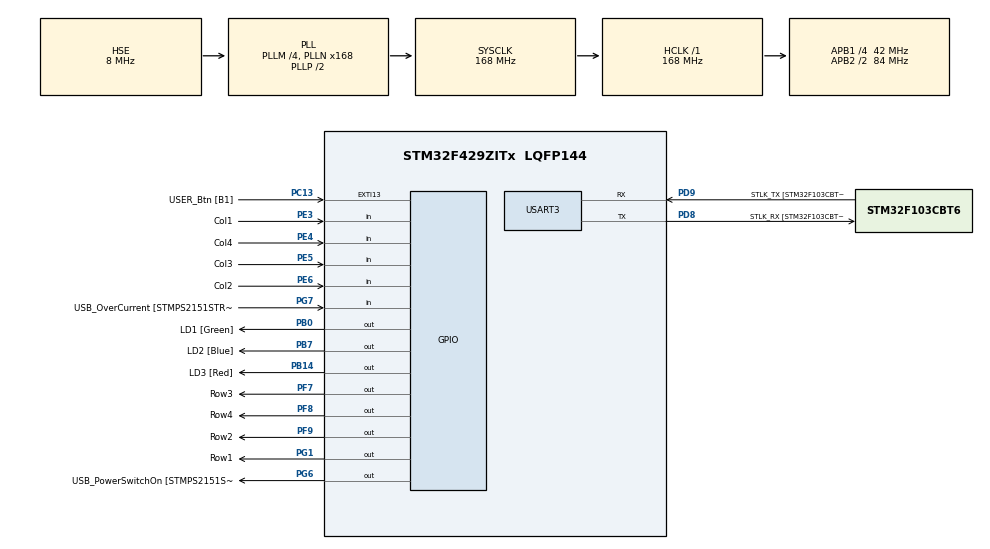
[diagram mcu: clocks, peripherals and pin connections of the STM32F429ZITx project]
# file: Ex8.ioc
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Mcu.Family=STM32F4
Mcu.Name=STM32F429ZITx
Mcu.Package=LQFP144
NVIC.PriorityGroup=NVIC_PRIORITYGROUP_4
NVIC.TIM3_IRQn=true\:0\:0\:false\:false\:true\:true\:true\:true
PA1.GPIO_Label=RMII_REF_CLK [LAN8742A-CZ-TR_REFCLK0]
PA1.Signal=ETH_REF_CLK
PA10.GPIO_Label=USB_ID
PA10.Signal=USB_OTG_FS_ID
PA11.GPIO_Label=USB_DM
PA11.Signal=USB_OTG_FS_DM
PA12.GPIO_Label=USB_DP
PA12.Signal=USB_OTG_FS_DP
PA13.GPIO_Label=TMS
PA13.Mode=Serial_Wire
PA13.Signal=SYS_JTMS-SWDIO
PA14.GPIO_Label=TCK
PA14.Mode=Serial_Wire
PA14.Signal=SYS_JTCK-SWCLK
PA2.GPIO_Label=RMII_MDIO [LAN8742A-CZ-TR_MDIO]
PA2.Signal=ETH_MDIO
PA7.GPIO_Label=RMII_CRS_DV [LAN8742A-CZ-TR_CRS_DV]
PA7.Signal=ETH_CRS_DV
PA8.GPIO_Label=USB_SOF [TP1]
PA8.Signal=USB_OTG_FS_SOF
PA9.GPIO_Label=USB_VBUS
PA9.Signal=USB_OTG_FS_VBUS
PB0.GPIO_Label=LD1 [Green]
PB0.Signal=GPIO_Output
PB13.GPIO_Label=RMII_TXD1 [LAN8742A-CZ-TR_TXD1]
PB13.Signal=ETH_TXD1
PB14.GPIO_Label=LD3 [Red]
PB14.Signal=GPIO_Output
PB7.GPIO_Label=LD2 [Blue]
PB7.Signal=GPIO_Output
PC1.GPIO_Label=RMII_MDC [LAN8742A-CZ-TR_MDC]
PC1.Signal=ETH_MDC
PC13.GPIO_Label=USER_Btn [B1]
PC13.Signal=GPXTI13
PC14/OSC32_IN.Mode=LSE-External-Oscillator
PC14/OSC32_IN.Signal=RCC_OSC32_IN
PC15/OSC32_OUT.Mode=LSE-External-Oscillator
PC15/OSC32_OUT.Signal=RCC_OSC32_OUT
PC4.GPIO_Label=RMII_RXD0 [LAN8742A-CZ-TR_RXD0]
PC4.Signal=ETH_RXD0
PC5.GPIO_Label=RMII_RXD1 [LAN8742A-CZ-TR_RXD1]
PC5.Signal=ETH_RXD1
PD8.GPIO_Label=STLK_RX [STM32F103CBT6_PA3]
PD8.Mode=Asynchronous
PD8.Signal=USART3_TX
PD9.GPIO_Label=STLK_TX [STM32F103CBT6_PA2]
PD9.Mode=Asynchronous
PD9.Signal=USART3_RX
PE3.GPIO_Label=Col1
PE3.GPIO_PuPd=GPIO_PULLUP
PE3.Signal=GPIO_Input
PE4.GPIO_Label=Col4
PE4.GPIO_PuPd=GPIO_PULLUP
PE4.Signal=GPIO_Input
PE5.GPIO_Label=Col3
PE5.GPIO_PuPd=GPIO_PULLUP
PE5.Signal=GPIO_Input
PE6.GPIO_Label=Col2
PE6.GPIO_PuPd=GPIO_PULLUP
PE6.Signal=GPIO_Input
PF7.GPIO_Label=Row3
PF7.GPIO_ModeDefaultOutputPP=GPIO_MODE_OUTPUT_OD
PF7.GPIO_PuPd=GPIO_NOPULL
PF7.Signal=GPIO_Output
PF8.GPIO_Label=Row4
PF8.GPIO_ModeDefaultOutputPP=GPIO_MODE_OUTPUT_OD
PF8.GPIO_PuPd=GPIO_NOPULL
PF8.Signal=GPIO_Output
PF9.GPIO_Label=Row2
PF9.GPIO_ModeDefaultOutputPP=GPIO_MODE_OUTPUT_OD
PF9.GPIO_PuPd=GPIO_NOPULL
PF9.Signal=GPIO_Output
PG1.GPIO_Label=Row1
PG1.GPIO_ModeDefaultOutputPP=GPIO_MODE_OUTPUT_OD
PG1.GPIO_PuPd=GPIO_NOPULL
PG1.Signal=GPIO_Output
PG11.GPIO_Label=RMII_TX_EN [LAN8742A-CZ-TR_TXEN]
PG11.Signal=ETH_TX_EN
PG13.GPIO_Label=RMII_TXD0 [LAN8742A-CZ-TR_TXD0]
PG13.Signal=ETH_TXD0
PG6.GPIO_Label=USB_PowerSwitchOn [STMPS2151STR_EN]
PG6.Signal=GPIO_Output
PG7.GPIO_Label=USB_OverCurrent [STMPS2151STR_FAULT]
PG7.Signal=GPIO_Input
PH0/OSC_IN.GPIO_Label=MCO [STM32F103CBT6_PA8]
PH0/OSC_IN.Mode=HSE-External-Clock-Source
PH0/OSC_IN.Signal=RCC_OSC_IN
PH1/OSC_OUT.Mode=HSE-External-Clock-Source
PH1/OSC_OUT.Signal=RCC_OSC_OUT
ProjectManager.HeapSize=0x200
ProjectManager.StackSize=0x400
ProjectManager.TargetToolchain=STM32CubeIDE
RCC.48MHZClocksFreq_Value=48000000
RCC.AHBFreq_Value=168000000
RCC.APB1CLKDivider=RCC_HCLK_DIV4
RCC.APB1Freq_Value=42000000
RCC.APB1TimFreq_Value=84000000
RCC.APB2CLKDivider=RCC_HCLK_DIV2
RCC.APB2Freq_Value=84000000
RCC.APB2TimCLKDivider=2
RCC.APB2TimFreq_Value=168000000
RCC.CortexFreq_Value=168000000
RCC.HCLKFreq_Value=168000000
RCC.HSE_VALUE=8000000
RCC.HSI_VALUE=16000000
RCC.PLLM=4
RCC.PLLMUL=RCC_PLL_MUL9
RCC.PLLN=168
RCC.PLLQ=7
RCC.PLLSourceVirtual=RCC_PLLSOURCE_HSE
RCC.PRESCALERUSB=RCC_USBCLKSOURCE_PLL_DIV1_5
RCC.SYSCLKFreq_VALUE=168000000
RCC.SYSCLKSource=RCC_SYSCLKSOURCE_PLLCLK
RCC.SYSCLKSourceVirtual=RCC_SYSCLKSOURCE_PLLCLK
RCC.USBFreq_Value=48000000
RCC.VCOOutputFreq_Value=336000000
TIM3.AutoReloadPreload=TIM_AUTORELOAD_PRELOAD_DISABLE
TIM3.Period=99
TIM3.Prescaler=8399
USART3.VirtualMode=VM_ASYNC
VP_TIM3_VS_ClockSourceINT.Mode=Internal
board=NUCLEO-F429ZI

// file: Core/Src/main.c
/* USER CODE BEGIN Header */
/**
 ******************************************************************************
 * @file           : main.c
 * @brief          : Main program body
 ******************************************************************************
 * @attention
 *
 * Copyright (c) 2023 STMicroelectronics.
 * All rights reserved.
 *
 * This software is licensed under terms that can be found in the LICENSE file
 * in the root directory of this software component.
 * If no LICENSE file comes with this software, it is provided AS-IS.
 *
 ******************************************************************************
 */
/* USER CODE END Header */
#include "main.h"

/* USER CODE BEGIN Includes */
#include <stdio.h>
/* USER CODE END Includes */

/* USER CODE BEGIN PD */
#define LOCK_TIMEOUT 3000
/* USER CODE END PD */

TIM_HandleTypeDef htim3;

UART_HandleTypeDef huart3;

/* USER CODE BEGIN PV */
static volatile int8_t key = -1;
/* USER CODE END PV */

void SystemClock_Config(void);
static void MX_GPIO_Init(void);
static void MX_USART3_UART_Init(void);
static void MX_TIM3_Init(void);

/* USER CODE BEGIN 0 */
int __io_putchar(int ch)
{
	ITM_SendChar(ch);
	return 0;
}

int pass_cmp(uint8_t *i) {
	uint8_t pass[5] = {7, 9, 3, 2, 12};

	if (key == pass[*i]) {
		if (key == 12 && *i == 4) {
			*i = 0;
			return 1;
		}
		(*i)++;
	}
	else {
		if (key == 12) {
			printf("Password incorrect\n");
		}
		*i = 0;
	}
	return 0;
}
/* USER CODE END 0 */

int main(void)
{

	/* MCU Configuration--------------------------------------------------------*/

	/* Reset of all peripherals, Initializes the Flash interface and the Systick. */
	HAL_Init();

	/* Configure the system clock */
	SystemClock_Config();

	/* Initialize all configured peripherals */
	MX_GPIO_Init();
	MX_USART3_UART_Init();
	MX_TIM3_Init();
	/* USER CODE BEGIN 2 */
	HAL_TIM_Base_Start_IT(&htim3);

	/* USER CODE END 2 */

	/* Infinite loop */
	/* USER CODE BEGIN WHILE */
	uint8_t i = 0, passStatus = 0;
	while (1)
	{
		//		HAL_GPIO_TogglePin(LD1_GPIO_Port, LD1_Pin);
		//		HAL_Delay(250);
		//		printf("Tick\n");

		static uint32_t tick;
		static uint32_t timeSample;
		static uint8_t lockTimeout = 1;

		tick = HAL_GetTick();

		if (tick > (timeSample + 1000) && (key != -1)) {
			timeSample = tick;
			lockTimeout = 0;

			switch (key) {
			case 11:
				printf("Pressed: [*]\n");
				break;
			case 12:
				printf("Pressed: [#]\n");
				break;
			case 21:
				printf("Pressed: [A]\n");
				break;
			case 22:
				printf("Pressed: [B]\n");
				break;
			case 23:
				printf("Pressed: [C]\n");
				break;
			case 24:
				printf("Pressed: [D]\n");
				break;
			default:
				printf("Pressed: %d\n", key);
				break;
			}

			HAL_GPIO_WritePin(LD2_GPIO_Port, LD2_Pin, GPIO_PIN_RESET);
			passStatus = pass_cmp(&i);
			if (passStatus == 1) {
				HAL_GPIO_WritePin(LD2_GPIO_Port, LD2_Pin, GPIO_PIN_SET);
				printf("Password correct\n");
				passStatus = 0;
			}

			key = -1;
		}

		if (tick > timeSample + LOCK_TIMEOUT && lockTimeout == 0) {
			lockTimeout = 1;
			printf("Lock timeout\n");
			i = 0;
		}
		/* USER CODE END WHILE */

	}
}

void SystemClock_Config(void)
{
	RCC_OscInitTypeDef RCC_OscInitStruct = {0};
	RCC_ClkInitTypeDef RCC_ClkInitStruct = {0};

	/** Configure the main internal regulator output voltage
	 */
	__HAL_RCC_PWR_CLK_ENABLE();
	__HAL_PWR_VOLTAGESCALING_CONFIG(PWR_REGULATOR_VOLTAGE_SCALE1);

	/** Initializes the RCC Oscillators according to the specified parameters
	 * in the RCC_OscInitTypeDef structure.
	 */
	RCC_OscInitStruct.OscillatorType = RCC_OSCILLATORTYPE_HSE;
	RCC_OscInitStruct.HSEState = RCC_HSE_BYPASS;
	RCC_OscInitStruct.PLL.PLLState = RCC_PLL_ON;
	RCC_OscInitStruct.PLL.PLLSource = RCC_PLLSOURCE_HSE;
	RCC_OscInitStruct.PLL.PLLM = 4;
	RCC_OscInitStruct.PLL.PLLN = 168;
	RCC_OscInitStruct.PLL.PLLP = RCC_PLLP_DIV2;
	RCC_OscInitStruct.PLL.PLLQ = 7;
	if (HAL_RCC_OscConfig(&RCC_OscInitStruct) != HAL_OK)
	{
		Error_Handler();
	}

	/** Initializes the CPU, AHB and APB buses clocks
	 */
	RCC_ClkInitStruct.ClockType = RCC_CLOCKTYPE_HCLK|RCC_CLOCKTYPE_SYSCLK
			|RCC_CLOCKTYPE_PCLK1|RCC_CLOCKTYPE_PCLK2;
	RCC_ClkInitStruct.SYSCLKSource = RCC_SYSCLKSOURCE_PLLCLK;
	RCC_ClkInitStruct.AHBCLKDivider = RCC_SYSCLK_DIV1;
	RCC_ClkInitStruct.APB1CLKDivider = RCC_HCLK_DIV4;
	RCC_ClkInitStruct.APB2CLKDivider = RCC_HCLK_DIV2;

	if (HAL_RCC_ClockConfig(&RCC_ClkInitStruct, FLASH_LATENCY_5) != HAL_OK)
	{
		Error_Handler();
	}
}

static void MX_TIM3_Init(void)
{

	TIM_ClockConfigTypeDef sClockSourceConfig = {0};
	TIM_MasterConfigTypeDef sMasterConfig = {0};

	htim3.Instance = TIM3;
	htim3.Init.Prescaler = 8399;
	htim3.Init.CounterMode = TIM_COUNTERMODE_UP;
	htim3.Init.Period = 99;
	htim3.Init.ClockDivision = TIM_CLOCKDIVISION_DIV1;
	htim3.Init.AutoReloadPreload = TIM_AUTORELOAD_PRELOAD_DISABLE;
	if (HAL_TIM_Base_Init(&htim3) != HAL_OK)
	{
		Error_Handler();
	}
	sClockSourceConfig.ClockSource = TIM_CLOCKSOURCE_INTERNAL;
	if (HAL_TIM_ConfigClockSource(&htim3, &sClockSourceConfig) != HAL_OK)
	{
		Error_Handler();
	}
	sMasterConfig.MasterOutputTrigger = TIM_TRGO_RESET;
	sMasterConfig.MasterSlaveMode = TIM_MASTERSLAVEMODE_DISABLE;
	if (HAL_TIMEx_MasterConfigSynchronization(&htim3, &sMasterConfig) != HAL_OK)
	{
		Error_Handler();
	}

}

static void MX_USART3_UART_Init(void)
{

	huart3.Instance = USART3;
	huart3.Init.BaudRate = 115200;
	huart3.Init.WordLength = UART_WORDLENGTH_8B;
	huart3.Init.StopBits = UART_STOPBITS_1;
	huart3.Init.Parity = UART_PARITY_NONE;
	huart3.Init.Mode = UART_MODE_TX_RX;
	huart3.Init.HwFlowCtl = UART_HWCONTROL_NONE;
	huart3.Init.OverSampling = UART_OVERSAMPLING_16;
	if (HAL_UART_Init(&huart3) != HAL_OK)
	{
		Error_Handler();
	}

}

static void MX_GPIO_Init(void)
{
	GPIO_InitTypeDef GPIO_InitStruct = {0};

	/* GPIO Ports Clock Enable */
	__HAL_RCC_GPIOE_CLK_ENABLE();
	__HAL_RCC_GPIOC_CLK_ENABLE();
	__HAL_RCC_GPIOF_CLK_ENABLE();
	__HAL_RCC_GPIOH_CLK_ENABLE();
	__HAL_RCC_GPIOA_CLK_ENABLE();
	__HAL_RCC_GPIOB_CLK_ENABLE();
	__HAL_RCC_GPIOG_CLK_ENABLE();
	__HAL_RCC_GPIOD_CLK_ENABLE();

	/*Configure GPIO pin Output Level */
	HAL_GPIO_WritePin(GPIOF, Row3_Pin|Row4_Pin|Row2_Pin, GPIO_PIN_RESET);

	/*Configure GPIO pin Output Level */
	HAL_GPIO_WritePin(GPIOB, LD1_Pin|LD3_Pin|LD2_Pin, GPIO_PIN_RESET);

	/*Configure GPIO pin Output Level */
	HAL_GPIO_WritePin(GPIOG, Row1_Pin|USB_PowerSwitchOn_Pin, GPIO_PIN_RESET);

	/*Configure GPIO pins : Col1_Pin Col4_Pin Col3_Pin Col2_Pin */
	GPIO_InitStruct.Pin = Col1_Pin|Col4_Pin|Col3_Pin|Col2_Pin;
	GPIO_InitStruct.Mode = GPIO_MODE_INPUT;
	GPIO_InitStruct.Pull = GPIO_PULLUP;
	HAL_GPIO_Init(GPIOE, &GPIO_InitStruct);

	/*Configure GPIO pin : USER_Btn_Pin */
	GPIO_InitStruct.Pin = USER_Btn_Pin;
	GPIO_InitStruct.Mode = GPIO_MODE_IT_RISING;
	GPIO_InitStruct.Pull = GPIO_NOPULL;
	HAL_GPIO_Init(USER_Btn_GPIO_Port, &GPIO_InitStruct);

	/*Configure GPIO pins : Row3_Pin Row4_Pin Row2_Pin */
	GPIO_InitStruct.Pin = Row3_Pin|Row4_Pin|Row2_Pin;
	GPIO_InitStruct.Mode = GPIO_MODE_OUTPUT_OD;
	GPIO_InitStruct.Pull = GPIO_NOPULL;
	GPIO_InitStruct.Speed = GPIO_SPEED_FREQ_LOW;
	HAL_GPIO_Init(GPIOF, &GPIO_InitStruct);

	/*Configure GPIO pins : RMII_MDC_Pin RMII_RXD0_Pin RMII_RXD1_Pin */
	GPIO_InitStruct.Pin = RMII_MDC_Pin|RMII_RXD0_Pin|RMII_RXD1_Pin;
	GPIO_InitStruct.Mode = GPIO_MODE_AF_PP;
	GPIO_InitStruct.Pull = GPIO_NOPULL;
	GPIO_InitStruct.Speed = GPIO_SPEED_FREQ_VERY_HIGH;
	GPIO_InitStruct.Alternate = GPIO_AF11_ETH;
	HAL_GPIO_Init(GPIOC, &GPIO_InitStruct);

	/*Configure GPIO pins : RMII_REF_CLK_Pin RMII_MDIO_Pin RMII_CRS_DV_Pin */
	GPIO_InitStruct.Pin = RMII_REF_CLK_Pin|RMII_MDIO_Pin|RMII_CRS_DV_Pin;
	GPIO_InitStruct.Mode = GPIO_MODE_AF_PP;
	GPIO_InitStruct.Pull = GPIO_NOPULL;
	GPIO_InitStruct.Speed = GPIO_SPEED_FREQ_VERY_HIGH;
	GPIO_InitStruct.Alternate = GPIO_AF11_ETH;
	HAL_GPIO_Init(GPIOA, &GPIO_InitStruct);

	/*Configure GPIO pins : LD1_Pin LD3_Pin LD2_Pin */
	GPIO_InitStruct.Pin = LD1_Pin|LD3_Pin|LD2_Pin;
	GPIO_InitStruct.Mode = GPIO_MODE_OUTPUT_PP;
	GPIO_InitStruct.Pull = GPIO_NOPULL;
	GPIO_InitStruct.Speed = GPIO_SPEED_FREQ_LOW;
	HAL_GPIO_Init(GPIOB, &GPIO_InitStruct);

	/*Configure GPIO pin : Row1_Pin */
	GPIO_InitStruct.Pin = Row1_Pin;
	GPIO_InitStruct.Mode = GPIO_MODE_OUTPUT_OD;
	GPIO_InitStruct.Pull = GPIO_NOPULL;
	GPIO_InitStruct.Speed = GPIO_SPEED_FREQ_LOW;
	HAL_GPIO_Init(Row1_GPIO_Port, &GPIO_InitStruct);

	/*Configure GPIO pin : RMII_TXD1_Pin */
	GPIO_InitStruct.Pin = RMII_TXD1_Pin;
	GPIO_InitStruct.Mode = GPIO_MODE_AF_PP;
	GPIO_InitStruct.Pull = GPIO_NOPULL;
	GPIO_InitStruct.Speed = GPIO_SPEED_FREQ_VERY_HIGH;
	GPIO_InitStruct.Alternate = GPIO_AF11_ETH;
	HAL_GPIO_Init(RMII_TXD1_GPIO_Port, &GPIO_InitStruct);

	/*Configure GPIO pin : USB_PowerSwitchOn_Pin */
	GPIO_InitStruct.Pin = USB_PowerSwitchOn_Pin;
	GPIO_InitStruct.Mode = GPIO_MODE_OUTPUT_PP;
	GPIO_InitStruct.Pull = GPIO_NOPULL;
	GPIO_InitStruct.Speed = GPIO_SPEED_FREQ_LOW;
	HAL_GPIO_Init(USB_PowerSwitchOn_GPIO_Port, &GPIO_InitStruct);

	/*Configure GPIO pin : USB_OverCurrent_Pin */
	GPIO_InitStruct.Pin = USB_OverCurrent_Pin;
	GPIO_InitStruct.Mode = GPIO_MODE_INPUT;
	GPIO_InitStruct.Pull = GPIO_NOPULL;
	HAL_GPIO_Init(USB_OverCurrent_GPIO_Port, &GPIO_InitStruct);

	/*Configure GPIO pins : USB_SOF_Pin USB_ID_Pin USB_DM_Pin USB_DP_Pin */
	GPIO_InitStruct.Pin = USB_SOF_Pin|USB_ID_Pin|USB_DM_Pin|USB_DP_Pin;
	GPIO_InitStruct.Mode = GPIO_MODE_AF_PP;
	GPIO_InitStruct.Pull = GPIO_NOPULL;
	GPIO_InitStruct.Speed = GPIO_SPEED_FREQ_VERY_HIGH;
	GPIO_InitStruct.Alternate = GPIO_AF10_OTG_FS;
	HAL_GPIO_Init(GPIOA, &GPIO_InitStruct);

	/*Configure GPIO pin : USB_VBUS_Pin */
	GPIO_InitStruct.Pin = USB_VBUS_Pin;
	GPIO_InitStruct.Mode = GPIO_MODE_INPUT;
	GPIO_InitStruct.Pull = GPIO_NOPULL;
	HAL_GPIO_Init(USB_VBUS_GPIO_Port, &GPIO_InitStruct);

	/*Configure GPIO pins : RMII_TX_EN_Pin RMII_TXD0_Pin */
	GPIO_InitStruct.Pin = RMII_TX_EN_Pin|RMII_TXD0_Pin;
	GPIO_InitStruct.Mode = GPIO_MODE_AF_PP;
	GPIO_InitStruct.Pull = GPIO_NOPULL;
	GPIO_InitStruct.Speed = GPIO_SPEED_FREQ_VERY_HIGH;
	GPIO_InitStruct.Alternate = GPIO_AF11_ETH;
	HAL_GPIO_Init(GPIOG, &GPIO_InitStruct);

}

/* USER CODE BEGIN 4 */
void HAL_TIM_PeriodElapsedCallback(TIM_HandleTypeDef *htim)
{
	static int row = 0;
	static const int keyboard[4][4] = {
			{ 1, 2, 3, 21 },
			{ 4, 5, 6, 22 },
			{ 7, 8, 9, 23 },
			{ 11, 0, 12, 24 },
	};
	if (key == -1) {
		if (HAL_GPIO_ReadPin(Col1_GPIO_Port, Col1_Pin) == GPIO_PIN_RESET) key = keyboard[row][0];
		if (HAL_GPIO_ReadPin(Col2_GPIO_Port, Col2_Pin) == GPIO_PIN_RESET) key = keyboard[row][1];
		if (HAL_GPIO_ReadPin(Col3_GPIO_Port, Col3_Pin) == GPIO_PIN_RESET) key = keyboard[row][2];
		if (HAL_GPIO_ReadPin(Col4_GPIO_Port, Col4_Pin) == GPIO_PIN_RESET) key = keyboard[row][3];
	}
	HAL_GPIO_WritePin(Row1_GPIO_Port, Row1_Pin, GPIO_PIN_SET);
	HAL_GPIO_WritePin(Row2_GPIO_Port, Row2_Pin, GPIO_PIN_SET);
	HAL_GPIO_WritePin(Row3_GPIO_Port, Row3_Pin, GPIO_PIN_SET);
	HAL_GPIO_WritePin(Row4_GPIO_Port, Row4_Pin, GPIO_PIN_SET);
	switch (row) {
	case 0: row = 1; HAL_GPIO_WritePin(Row2_GPIO_Port, Row2_Pin, GPIO_PIN_RESET); break;
	case 1: row = 2; HAL_GPIO_WritePin(Row3_GPIO_Port, Row3_Pin, GPIO_PIN_RESET); break;
	case 2: row = 3; HAL_GPIO_WritePin(Row4_GPIO_Port, Row4_Pin, GPIO_PIN_RESET); break;
	case 3: row = 0; HAL_GPIO_WritePin(Row1_GPIO_Port, Row1_Pin, GPIO_PIN_RESET); break;
	}
}
/* USER CODE END 4 */

void Error_Handler(void)
{
	__disable_irq();
	while (1)
	{
	}
}
